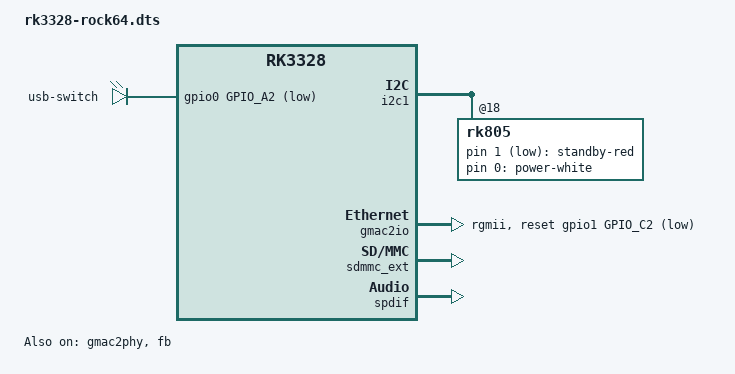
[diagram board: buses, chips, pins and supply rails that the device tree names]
/*
 * Copyright (c) 2016 Fuzhou Rockchip Electronics Co., Ltd
 *
 * This file is dual-licensed: you can use it either under the terms
 * of the GPL or the X11 license, at your option. Note that this dual
 * licensing only applies to this file, and not this project as a
 * whole.
 *
 *  a) This library is free software; you can redistribute it and/or
 *     modify it under the terms of the GNU General Public License as
 *     published by the Free Software Foundation; either version 2 of the
 *     License, or (at your option) any later version.
 *
 *     This library is distributed in the hope that it will be useful,
 *     but WITHOUT ANY WARRANTY; without even the implied warranty of
 *     MERCHANTABILITY or FITNESS FOR A PARTICULAR PURPOSE.  See the
 *     GNU General Public License for more details.
 *
 * Or, alternatively,
 *
 *  b) Permission is hereby granted, free of charge, to any person
 *     obtaining a copy of this software and associated documentation
 *     files (the "Software"), to deal in the Software without
 *     restriction, including without limitation the rights to use,
 *     copy, modify, merge, publish, distribute, sublicense, and/or
 *     sell copies of the Software, and to permit persons to whom the
 *     Software is furnished to do so, subject to the following
 *     conditions:
 *
 *     The above copyright notice and this permission notice shall be
 *     included in all copies or substantial portions of the Software.
 *
 *     THE SOFTWARE IS PROVIDED "AS IS", WITHOUT WARRANTY OF ANY KIND,
 *     EXPRESS OR IMPLIED, INCLUDING BUT NOT LIMITED TO THE WARRANTIES
 *     OF MERCHANTABILITY, FITNESS FOR A PARTICULAR PURPOSE AND
 *     NONINFRINGEMENT. IN NO EVENT SHALL THE AUTHORS OR COPYRIGHT
 *     HOLDERS BE LIABLE FOR ANY CLAIM, DAMAGES OR OTHER LIABILITY,
 *     WHETHER IN AN ACTION OF CONTRACT, TORT OR OTHERWISE, ARISING
 *     FROM, OUT OF OR IN CONNECTION WITH THE SOFTWARE OR THE USE OR
 *     OTHER DEALINGS IN THE SOFTWARE.
 */

/dts-v1/;

#include "rk3328.dtsi"
#include "rk3328-evb.dtsi"
/*#include "rk3328-box-plus-dram-timing.dtsi"*/
#include "rk-stb-keymap.dtsi"

/ {
	io-domains {
		vccio6-supply = <&rk805_ldo1_reg>;
	};

	leds {
		compatible = "gpio-leds";

		standby-red {
			linux,default-trigger = "none";
			gpios = <&rk805 1 GPIO_ACTIVE_LOW>;
			mode = <0x23>;
			default-state = "on";
		};

		power-white {
			linux,default-trigger = "none";
			gpios = <&rk805 0 GPIO_ACTIVE_HIGH>;
			mode = <0x23>;
			default-state = "on";
		};

		usb-switch {
			linux,default-trigger = "none";
			gpios = <&gpio0 GPIO_A2 GPIO_ACTIVE_LOW>;
			mode = <0x23>;
			default-state = "on";
		};
	};

	wireless-wlan {
		wifi_chip_type = "rtl8822bs";
		WIFI,poweren_gpio = <&gpio3 GPIO_B0 GPIO_ACTIVE_HIGH>;
		WIFI,host_wake_irq = <&gpio3 GPIO_A1 GPIO_ACTIVE_HIGH>;
		status = "disabled";
	};

	wireless-bluetooth {
		pinctrl-0 = <&uart2m1_xfer>;
		BT,power_gpio = <&gpio1 GPIO_D0 GPIO_ACTIVE_HIGH>;
		BT,wake_gpio = <&gpio2 GPIO_C7 GPIO_ACTIVE_HIGH>;
		BT,wake_host_irq = <&gpio1 GPIO_D2 GPIO_ACTIVE_HIGH>;
		status = "disabled";
	};
};

&i2c1 {
	rk805: rk805@18 {
		rtc {
			status = "okay";
		};
	};
};

&clk_core_dvfs_table {
	operating-points = <
		/* KHz	uV */
		408000	950000
		600000	950000
		816000	1000000
		1008000	1100000
		1200000	1225000
		1296000	1300000
		1392000	1350000
		1512000	1350000
		>;
	status = "okay";
};

&gmac2io {
	reset-gpio = <&gpio1 GPIO_C2 GPIO_ACTIVE_LOW>;
	phy-mode = "rgmii";
	pinctrl-0 = <&rgmiim1_pins>;
	clock_in_out = "input";
	tx_delay = <0x26>;
	status = "okay";
};

&gmac2phy {
	status = "okay";
};

&sdio {
	status = "disabled";
};

&sdmmc {
	/delete-property/ pinctrl-1;
	pinctrl-names = "default";
};

&sdmmc_ext {
	/delete-property/ supports-sd;
	/delete-property/ broken-cd;
	/delete-property/ card-detect-delay;
	/delete-property/ power-inverted;
	/delete-property/ pinctrl-1;

	clock-frequency = <150000000>;
	clock-freq-min-max = <200000 150000000>;
	supports-sdio;
	ignore-pm-notify;
	keep-power-in-suspend;
	cap-sdio-irq;
	supports-UHS_SDR104;
	status = "okay";
	pinctrl-names = "default";
};

&spdif {
	pinctrl-0 = <&spdifm0_tx>;
	status = "okay";
};

&uart0 {
	status = "disabled";
};

&usb2_otg {
	/* 0 - Normal, 1 - Force Host, 2 - Force Device */
	rockchip,usb-mode = <1>;
};

&pinctrl {
	pinctrl-names = "default";
	pinctrl-0 = <&clk_32k_out>;

	clk_32k {
		clk_32k_out: clk-32k-out {
			rockchip,pins =
				<1 GPIO_D4 RK_FUNC_1 &pcfg_pull_none>;
		};
	};
};

&clk_ddr_dvfs_table {
	operating-points = <
		/* KHz    uV */
		400000 900000
		800000 1050000
		>;

	freq-table = <
		/*status		freq(KHz)*/
		SYS_STATUS_NORMAL	800000
		SYS_STATUS_SUSPEND	800000
		SYS_STATUS_VIDEO_1080P  800000
		SYS_STATUS_VIDEO_4K     800000
		SYS_STATUS_PERFORMANCE  800000
		SYS_STATUS_DUALVIEW	800000
		SYS_STATUS_BOOST	800000
		SYS_STATUS_ISP		800000
		>;
};

&fb {
	status = "okay";
	rockchip,disp-mode = <NO_DUAL>;
	rockchip,disp-policy = <DISPLAY_POLICY_BOX>;
	rockchip,uboot-logo-on = <1>;
};

&disp_timings {
	// timing0 is 1280x720p60
	// timing1 is 1920x1080p60
	native-mode = <&timing1>;
};

&hdmi {
	rockchip,cec_enable = <1>;
	rockchip,cec_wakeup = <1>;
};
